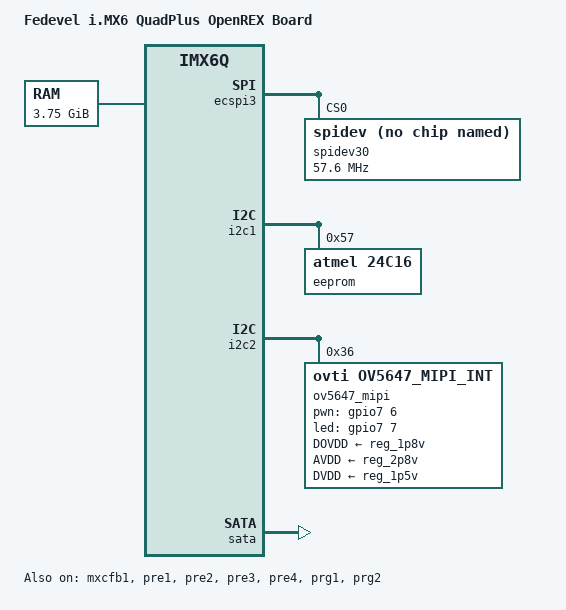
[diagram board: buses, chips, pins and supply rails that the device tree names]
/*
 * Copyright (C) 2015-2017 Voipac.
 *
 * The code contained herein is licensed under the GNU General Public
 * License. You may obtain a copy of the GNU General Public License
 * Version 2 or later at the following locations:
 *
 * http://www.opensource.org/licenses/gpl-license.html
 * http://www.gnu.org/copyleft/gpl.html
 */

/dts-v1/;

#include "imx6q.dtsi"
#include "imx6qp.dtsi"
#include "imx6qdl-openrex.dtsi"

/ {
	model = "Fedevel i.MX6 QuadPlus OpenREX Board";
	compatible = "fsl,imx6q-openrex", "fsl,imx6q";

	memory: memory {
		reg = <0x10000000 0xF0000000>;
	};
};

&ecspi3 {
	spidev30: spi@3 {
		compatible = "spidev";
		spi-max-frequency = <57600000>;
		reg = <0>;
	};
};

&i2c1 {
	eeprom: at24@57 {
		compatible = "atmel,24c16";
		reg = <0x57>;
	};
};

&i2c2 {
	/* Raspberry Pi camera rev 1.3 */
	ov5647_mipi: ov5647_mipi@36 {
		compatible = "ovti,ov5647_mipi_int";
		reg = <0x36>;
		/* Pi camera has its own 25MHz clock. */
		clocks = <&clks IMX6QDL_CLK_DUMMY>;
		clock-names = "csi_mclk";
		DOVDD-supply = <&reg_1p8v>;
		AVDD-supply = <&reg_2p8v>;
		DVDD-supply = <&reg_1p5v>;
		pwn-gpios = <&gpio7 6 GPIO_ACTIVE_HIGH>;
		led-gpios = <&gpio7 7 GPIO_ACTIVE_HIGH>;
		csi_id = <1>;
		mclk = <25000000>;
		mclk_source = <0>;
		pinctrl-names = "default";
		pinctrl-0 = <&pinctrl_ov5647_mipi>;
	};
};

&mxcfb1 {
	status = "okay";
};

&mxcfb2 {
	status = "disabled";
};

&mxcfb3 {
	status = "disabled";
};

&mxcfb4 {
	status = "disabled";
};

&pre1 {
	status = "okay";
};

&pre2 {
	status = "okay";
};

&pre3 {
	status = "okay";
};

&pre4 {
	status = "okay";
};

&prg1 {
	memory-region = <&memory>;
	status = "okay";
};

&prg2 {
	memory-region = <&memory>;
	status = "okay";
};

&sata {
	status = "okay";
};
